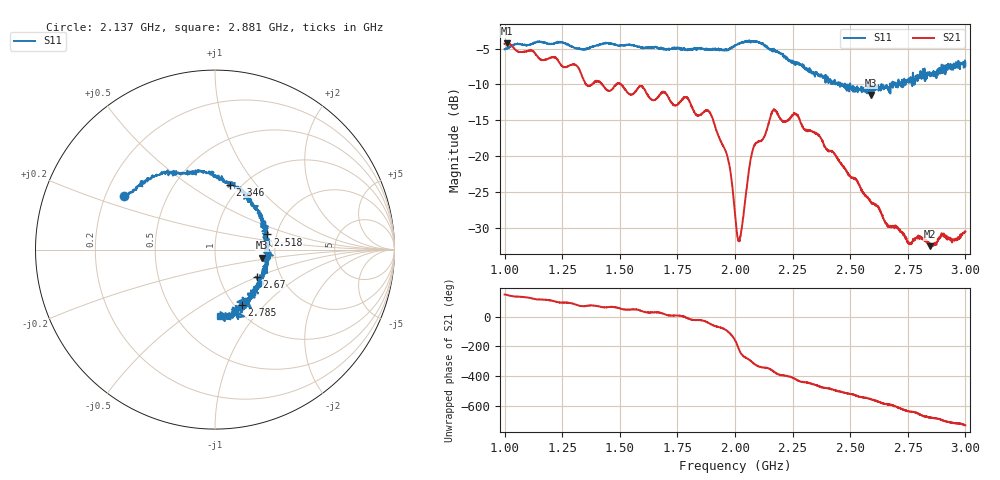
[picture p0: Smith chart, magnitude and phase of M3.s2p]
# HZ S RI R 50
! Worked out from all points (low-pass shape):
!   2020 points, 1 GHz to 3 GHz, reference 50 ohm
!   highest |S21| = -4.27 dB at 1.011 GHz (marker M1); lowest = -32.6 dB at 2.845 GHz (marker M2)
!   |S21| within 3 dB of the highest: start of sweep to 1.245 GHz; 1.289 GHz to 1.306 GHz (16.88 MHz wide, 1.3 % of centre)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
!   lowest |S11| = -11.5 dB at 2.589 GHz (marker M3), VSWR 1.73, Z = 85.2 - j8.36 ohm
!   |S11| at or under -10 dB: 2.5 GHz to 2.581 GHz (80.46 MHz wide, 3.17 % of centre); 2.581 GHz to 2.635 GHz (54.16 MHz wide, 2.08 % of centre); 2.636 GHz to 2.673 GHz (37.1 MHz wide, 1.4 % of centre)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
!   S12 and S22 are empty: the file has one direction only
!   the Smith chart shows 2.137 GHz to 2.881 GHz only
!   S11 on the Smith chart (normalised r, x): 2.137 GHz: 0.28, +0.25; 2.346 GHz: 0.89, +0.75; 2.518 GHz: 1.79, +0.33; 2.67 GHz: 1.51, -0.50; 2.785 GHz: 1.08, -0.76; 2.881 GHz: 0.80, -0.68
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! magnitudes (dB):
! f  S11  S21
! 1 GHz  -5.1  -4.3
! 1.011 GHz  -5.0  -4.3
! 1.334 GHz  -5.1  -8.6
! 1.363 GHz  -5.0  -10.2
! 1.668 GHz  -4.9  -11.7
! 1.891 GHz  -5.1  -13.9
! 1.968 GHz  -5.1  -20.2
! 2 GHz  -4.6  -28.1
! 2.021 GHz  -4.2  -31.4
! 2.075 GHz  -4.0  -19.4
! 2.137 GHz  -4.6  -16.3
! 2.171 GHz  -5.3  -13.6
! 2.334 GHz  -8.3  -16.5
! 2.346 GHz  -8.6  -16.8
! 2.518 GHz  -10.3  -23.1
! 2.589 GHz  -11.5  -26.3
! 2.667 GHz  -10.5  -29.7
! 2.67 GHz  -11.1  -29.9
! 2.785 GHz  -9.3  -31.4
! 2.845 GHz  -8.6  -32.6
! 2.881 GHz  -8.7  -31.7
! 3 GHz  -7.0  -30.5
